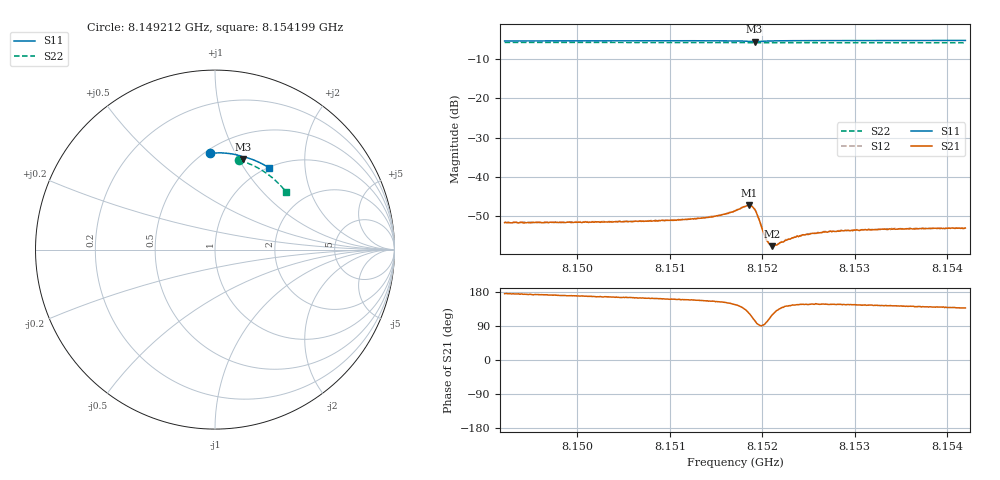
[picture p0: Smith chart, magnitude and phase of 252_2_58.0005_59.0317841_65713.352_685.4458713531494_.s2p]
#  HZ  S  RI  R  50.00
! Rohde & Schwarz Vector Network Analyzer
! Rohde-Schwarz,ZNB20-2Port,1311601062101988,3.16
! Created: UTC 3/21/2024, 1:01:37 AM
! freq[Hz]  re:S11  im:S11  re:S21  im:S21  re:S12  im:S12  re:S22  im:S22
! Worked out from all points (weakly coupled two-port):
!   401 points, 8.149212 GHz to 8.154199 GHz, reference 50 ohm
!   highest |S21| = -47.19 dB at 8.151855 GHz (marker M1); lowest = -57.6 dB at 8.152104 GHz (marker M2)
!   lowest |S11| = -5.5 dB at 8.151917 GHz (marker M3), VSWR 3.24, Z = 37.3 + j52.2 ohm
!   |S11| at or under -10 dB: nowhere
!   |S22| runs from -5.9 to -5.7 dB; largest |S21 - S12| = 0.00011
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8.1492115e9  -0.0254 0.5379  -0.00262 0.00023  -0.00268 0.000292  0.1364 0.4974
8.1500469e9  0.0329 0.539  -0.00258 0.000496  -0.00264 0.00059  0.1876 0.4797
8.1508823e9  0.0913 0.5334  -0.00266 0.000872  -0.00266 0.000904  0.2365 0.4564
8.1511815e9  0.1124 0.5298  -0.0027 0.00103  -0.00267 0.0011  0.2532 0.447
8.1514433e9  0.1311 0.5256  -0.00281 0.00131  -0.00286 0.00134  0.2676 0.438
8.1515805e9  0.1412 0.5225  -0.00298 0.00156  -0.00297 0.00163  0.2749 0.4332
8.1517052e9  0.1507 0.5185  -0.00309 0.00206  -0.00309 0.0021  0.2817 0.4285
8.1518174e9  0.1584 0.5115  -0.00288 0.0031  -0.00288 0.00317  0.2875 0.4244
8.1518548e9  0.1592 0.508  -0.00245 0.00362  -0.00242 0.00368  0.2894 0.423
8.1518922e9  0.1582 0.5052  -0.00162 0.00389  -0.00161 0.00393  0.2911 0.4215
8.1519171e9  0.1566 0.5047  -0.000983 0.00378  -0.000879 0.00381  0.2924 0.4206
8.1519545e9  0.1551 0.5064  -0.000225 0.00311  -0.00018 0.00315  0.2942 0.4192
8.1520169e9  0.1574 0.5109  -9.3e-05 0.00191  -4.88e-05 0.00196  0.2974 0.4172
8.1520418e9  0.1594 0.5121  -0.000252 0.00159  -0.000234 0.00159  0.2987 0.4164
8.1520667e9  0.1615 0.5127  -0.000398 0.00141  -0.000403 0.0014  0.3001 0.4154
8.1521041e9  0.165 0.5132  -0.000617 0.00117  -0.000614 0.00121  0.3021 0.4139
8.152154e9  0.1694 0.5133  -0.000879 0.00104  -0.000921 0.00107  0.3045 0.412
8.1523535e9  0.1851 0.5099  -0.00141 0.000982  -0.00142 0.00101  0.3146 0.404
8.1525405e9  0.1982 0.5059  -0.00163 0.00102  -0.00158 0.00107  0.324 0.3964
8.1528522e9  0.2191 0.498  -0.00173 0.00113  -0.00176 0.00118  0.3387 0.3831
8.1533759e9  0.2524 0.483  -0.00176 0.00131  -0.00175 0.00134  0.3626 0.3598
8.1541988e9  0.3023 0.455  -0.00165 0.00153  -0.00165 0.00154  0.3966 0.32
